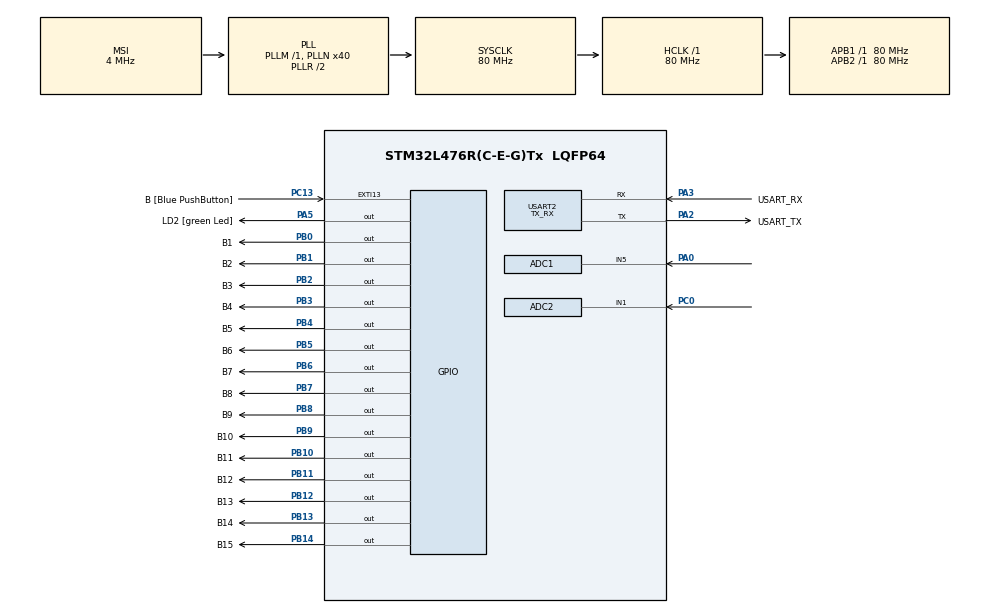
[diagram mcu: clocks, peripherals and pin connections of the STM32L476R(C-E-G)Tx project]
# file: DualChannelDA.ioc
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ADC1.Channel-1\#ChannelRegularConversion=ADC_CHANNEL_5
ADC1.ClockPrescaler=ADC_CLOCK_ASYNC_DIV1
ADC1.ContinuousConvMode=DISABLE
ADC1.DMAAccessModeView=ENABLE
ADC1.DMAContinuousRequests=ENABLE
ADC1.DataAlign=ADC_DATAALIGN_RIGHT
ADC1.EnableAnalogWatchDog1=false
ADC1.Mode=ADC_DUALMODE_REGSIMULT
ADC1.NbrOfConversionFlag=1
ADC1.OffsetNumber-1\#ChannelRegularConversion=ADC_OFFSET_NONE
ADC1.Rank-1\#ChannelRegularConversion=1
ADC1.SamplingTime-1\#ChannelRegularConversion=ADC_SAMPLETIME_2CYCLES_5
ADC1.master=1
ADC2.Channel-1\#ChannelRegularConversion=ADC_CHANNEL_1
ADC2.ContinuousConvMode=DISABLE
ADC2.DMAAccessModeView=ENABLE
ADC2.DMAContinuousRequests=DISABLE
ADC2.DataAlign=ADC_DATAALIGN_RIGHT
ADC2.EOCSelection=ADC_EOC_SINGLE_CONV
ADC2.Mode=ADC_DUALMODE_REGSIMULT
ADC2.NbrOfConversionFlag=1
ADC2.OffsetNumber-1\#ChannelRegularConversion=ADC_OFFSET_NONE
ADC2.Rank-1\#ChannelRegularConversion=1
ADC2.Resolution=ADC_RESOLUTION_12B
ADC2.SamplingTime-1\#ChannelRegularConversion=ADC_SAMPLETIME_2CYCLES_5
Dma.ADC1.0.Direction=DMA_PERIPH_TO_MEMORY
Dma.ADC1.0.Instance=DMA1_Channel1
Dma.ADC1.0.MemDataAlignment=DMA_MDATAALIGN_WORD
Dma.ADC1.0.MemInc=DMA_MINC_ENABLE
Dma.ADC1.0.Mode=DMA_CIRCULAR
Dma.ADC1.0.PeriphDataAlignment=DMA_PDATAALIGN_WORD
Dma.ADC1.0.PeriphInc=DMA_PINC_DISABLE
Dma.ADC1.0.Priority=DMA_PRIORITY_LOW
Dma.Request0=ADC1
Mcu.Family=STM32L4
Mcu.Name=STM32L476R(C-E-G)Tx
Mcu.Package=LQFP64
NVIC.DMA1_Channel1_IRQn=true\:0\:0\:false\:false\:true\:false\:true
NVIC.PriorityGroup=NVIC_PRIORITYGROUP_4
NVIC.USART2_IRQn=true\:0\:0\:false\:false\:true\:true\:true
PA0.Signal=ADCx_IN5
PA13\ (JTMS-SWDIO).GPIO_Label=TMS
PA13\ (JTMS-SWDIO).Mode=Serial_Wire
PA13\ (JTMS-SWDIO).Signal=SYS_JTMS-SWDIO
PA14\ (JTCK-SWCLK).GPIO_Label=TCK
PA14\ (JTCK-SWCLK).Mode=Serial_Wire
PA14\ (JTCK-SWCLK).Signal=SYS_JTCK-SWCLK
PA2.GPIO_Label=USART_TX
PA2.GPIO_Mode=GPIO_MODE_AF_PP
PA2.GPIO_PuPd=GPIO_NOPULL
PA2.GPIO_Speed=GPIO_SPEED_FREQ_VERY_HIGH
PA2.Mode=Asynchronous
PA2.Signal=USART2_TX
PA3.GPIO_Label=USART_RX
PA3.GPIO_Mode=GPIO_MODE_AF_PP
PA3.GPIO_PuPd=GPIO_NOPULL
PA3.GPIO_Speed=GPIO_SPEED_FREQ_VERY_HIGH
PA3.Mode=Asynchronous
PA3.Signal=USART2_RX
PA5.GPIO_Label=LD2 [green Led]
PA5.GPIO_ModeDefaultOutputPP=GPIO_MODE_OUTPUT_PP
PA5.GPIO_PuPd=GPIO_NOPULL
PA5.GPIO_Speed=GPIO_SPEED_FREQ_LOW
PA5.Signal=GPIO_Output
PB0.GPIO_Label=B1
PB0.Signal=GPIO_Output
PB1.GPIO_Label=B2
PB1.Signal=GPIO_Output
PB10.GPIO_Label=B11
PB10.Signal=GPIO_Output
PB11.GPIO_Label=B12
PB11.Signal=GPIO_Output
PB12.GPIO_Label=B13
PB12.Signal=GPIO_Output
PB13.GPIO_Label=B14
PB13.Signal=GPIO_Output
PB14.GPIO_Label=B15
PB14.Signal=GPIO_Output
PB2.GPIO_Label=B3
PB2.Signal=GPIO_Output
PB3\ (JTDO-TRACESWO).GPIO_Label=B4
PB3\ (JTDO-TRACESWO).Signal=GPIO_Output
PB4\ (NJTRST).GPIO_Label=B5
PB4\ (NJTRST).Signal=GPIO_Output
PB5.GPIO_Label=B6
PB5.Signal=GPIO_Output
PB6.GPIO_Label=B7
PB6.Signal=GPIO_Output
PB7.GPIO_Label=B8
PB7.Signal=GPIO_Output
PB8.GPIO_Label=B9
PB8.Signal=GPIO_Output
PB9.GPIO_Label=B10
PB9.Signal=GPIO_Output
PC0.Signal=ADCx_IN1
PC13.GPIO_Label=B [Blue PushButton]
PC13.GPIO_ModeDefaultEXTI=GPIO_MODE_IT_FALLING
PC13.GPIO_PuPd=GPIO_NOPULL
PC13.Signal=GPXTI13
PC14-OSC32_IN\ (PC14).Mode=LSE-External-Oscillator
PC14-OSC32_IN\ (PC14).Signal=RCC_OSC32_IN
PC15-OSC32_OUT\ (PC15).Mode=LSE-External-Oscillator
PC15-OSC32_OUT\ (PC15).Signal=RCC_OSC32_OUT
PH0-OSC_IN\ (PH0).Mode=HSE-External-Oscillator
PH0-OSC_IN\ (PH0).Signal=RCC_OSC_IN
PH1-OSC_OUT\ (PH1).Mode=HSE-External-Oscillator
PH1-OSC_OUT\ (PH1).Signal=RCC_OSC_OUT
ProjectManager.HeapSize=0x200
ProjectManager.StackSize=0x400
ProjectManager.TargetToolchain=STM32CubeIDE
RCC.ADCFreq_Value=32000000
RCC.AHBFreq_Value=80000000
RCC.APB1Freq_Value=80000000
RCC.APB1TimFreq_Value=80000000
RCC.APB2Freq_Value=80000000
RCC.APB2TimFreq_Value=80000000
RCC.CortexFreq_Value=80000000
RCC.HCLKFreq_Value=80000000
RCC.HSE_VALUE=4000000
RCC.HSI_VALUE=16000000
RCC.MSI_VALUE=4000000
RCC.PLLN=40
RCC.PLLSAI1N=16
RCC.PLLSAI2N=16
RCC.SYSCLKFreq_VALUE=80000000
RCC.SYSCLKSource=RCC_SYSCLKSOURCE_PLLCLK
RCC.USBFreq_Value=32000000
RCC.VCOOutputFreq_Value=160000000
SH.ADCx_IN1.0=ADC2_IN1,IN1-Single-Ended
SH.ADCx_IN5.0=ADC1_IN5,IN5-Single-Ended
USART2.Mode=MODE_TX_RX
USART2.VirtualMode-Asynchronous=VM_ASYNC
board=NUCLEO-L476RG

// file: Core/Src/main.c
/* USER CODE BEGIN Header */
/**
 ******************************************************************************
 * @file           : main.c
 * @brief          : Main program body
 ******************************************************************************
 * @attention
 *
 * Copyright (c) 2023 STMicroelectronics.
 * All rights reserved.
 *
 * This software is licensed under terms that can be found in the LICENSE file
 * in the root directory of this software component.
 * If no LICENSE file comes with this software, it is provided AS-IS.
 *
 ******************************************************************************
 */
/* USER CODE END Header */
#include "main.h"

/* USER CODE BEGIN Includes */
#include<string.h>
#include<stdio.h>
/* USER CODE END Includes */

/* USER CODE BEGIN PD */

#define ADC_BUF_LEN 2048

/* USER CODE END PD */

ADC_HandleTypeDef hadc1;
ADC_HandleTypeDef hadc2;
DMA_HandleTypeDef hdma_adc1;

UART_HandleTypeDef huart2;

/* USER CODE BEGIN PV */

volatile uint32_t adc_buf[ADC_BUF_LEN];
uint8_t Tx[] = "O\r\n";
uint8_t Rx[1];

char msg[100];

/* USER CODE END PV */

void SystemClock_Config(void);
void PeriphCommonClock_Config(void);
static void MX_GPIO_Init(void);
static void MX_USART2_UART_Init(void);
static void MX_DMA_Init(void);
static void MX_ADC2_Init(void);
static void MX_ADC1_Init(void);

int main(void)
{

  /* MCU Configuration--------------------------------------------------------*/

  /* Reset of all peripherals, Initializes the Flash interface and the Systick. */
  HAL_Init();

  /* Configure the system clock */
  SystemClock_Config();

/* Configure the peripherals common clocks */
  PeriphCommonClock_Config();

  /* Initialize all configured peripherals */
  MX_GPIO_Init();
  MX_USART2_UART_Init();
  MX_DMA_Init();
  MX_ADC2_Init();
  MX_ADC1_Init();
  /* USER CODE BEGIN 2 */

  HAL_ADCEx_Calibration_Start(&hadc1,ADC_SINGLE_ENDED);
  HAL_ADCEx_Calibration_Start(&hadc2,ADC_SINGLE_ENDED);
  HAL_ADC_Start(&hadc2);
  HAL_ADCEx_MultiModeStart_DMA(&hadc1,(uint32_t *)adc_buf, ADC_BUF_LEN);

  /* USER CODE END 2 */

  /* Infinite loop */
  while (1)
  {

  }
}

void SystemClock_Config(void)
{
  RCC_OscInitTypeDef RCC_OscInitStruct = {0};
  RCC_ClkInitTypeDef RCC_ClkInitStruct = {0};

  /** Configure the main internal regulator output voltage
  */
  if (HAL_PWREx_ControlVoltageScaling(PWR_REGULATOR_VOLTAGE_SCALE1) != HAL_OK)
  {
    Error_Handler();
  }
  /** Configure LSE Drive Capability
  */
  HAL_PWR_EnableBkUpAccess();
  __HAL_RCC_LSEDRIVE_CONFIG(RCC_LSEDRIVE_LOW);
  /** Initializes the RCC Oscillators according to the specified parameters
  * in the RCC_OscInitTypeDef structure.
  */
  RCC_OscInitStruct.OscillatorType = RCC_OSCILLATORTYPE_LSE|RCC_OSCILLATORTYPE_MSI;
  RCC_OscInitStruct.LSEState = RCC_LSE_ON;
  RCC_OscInitStruct.MSIState = RCC_MSI_ON;
  RCC_OscInitStruct.MSICalibrationValue = 0;
  RCC_OscInitStruct.MSIClockRange = RCC_MSIRANGE_6;
  RCC_OscInitStruct.PLL.PLLState = RCC_PLL_ON;
  RCC_OscInitStruct.PLL.PLLSource = RCC_PLLSOURCE_MSI;
  RCC_OscInitStruct.PLL.PLLM = 1;
  RCC_OscInitStruct.PLL.PLLN = 40;
  RCC_OscInitStruct.PLL.PLLP = RCC_PLLP_DIV7;
  RCC_OscInitStruct.PLL.PLLQ = RCC_PLLQ_DIV2;
  RCC_OscInitStruct.PLL.PLLR = RCC_PLLR_DIV2;
  if (HAL_RCC_OscConfig(&RCC_OscInitStruct) != HAL_OK)
  {
    Error_Handler();
  }
  /** Initializes the CPU, AHB and APB buses clocks
  */
  RCC_ClkInitStruct.ClockType = RCC_CLOCKTYPE_HCLK|RCC_CLOCKTYPE_SYSCLK
                              |RCC_CLOCKTYPE_PCLK1|RCC_CLOCKTYPE_PCLK2;
  RCC_ClkInitStruct.SYSCLKSource = RCC_SYSCLKSOURCE_PLLCLK;
  RCC_ClkInitStruct.AHBCLKDivider = RCC_SYSCLK_DIV1;
  RCC_ClkInitStruct.APB1CLKDivider = RCC_HCLK_DIV1;
  RCC_ClkInitStruct.APB2CLKDivider = RCC_HCLK_DIV1;

  if (HAL_RCC_ClockConfig(&RCC_ClkInitStruct, FLASH_LATENCY_4) != HAL_OK)
  {
    Error_Handler();
  }
  /** Enable MSI Auto calibration
  */
  HAL_RCCEx_EnableMSIPLLMode();
}

void PeriphCommonClock_Config(void)
{
  RCC_PeriphCLKInitTypeDef PeriphClkInit = {0};

  /** Initializes the peripherals clock
  */
  PeriphClkInit.PeriphClockSelection = RCC_PERIPHCLK_ADC;
  PeriphClkInit.AdcClockSelection = RCC_ADCCLKSOURCE_PLLSAI1;
  PeriphClkInit.PLLSAI1.PLLSAI1Source = RCC_PLLSOURCE_MSI;
  PeriphClkInit.PLLSAI1.PLLSAI1M = 1;
  PeriphClkInit.PLLSAI1.PLLSAI1N = 16;
  PeriphClkInit.PLLSAI1.PLLSAI1P = RCC_PLLP_DIV7;
  PeriphClkInit.PLLSAI1.PLLSAI1Q = RCC_PLLQ_DIV2;
  PeriphClkInit.PLLSAI1.PLLSAI1R = RCC_PLLR_DIV2;
  PeriphClkInit.PLLSAI1.PLLSAI1ClockOut = RCC_PLLSAI1_ADC1CLK;
  if (HAL_RCCEx_PeriphCLKConfig(&PeriphClkInit) != HAL_OK)
  {
    Error_Handler();
  }
}

static void MX_ADC1_Init(void)
{

  ADC_MultiModeTypeDef multimode = {0};
  ADC_ChannelConfTypeDef sConfig = {0};

  /** Common config
  */
  hadc1.Instance = ADC1;
  hadc1.Init.ClockPrescaler = ADC_CLOCK_ASYNC_DIV1;
  hadc1.Init.Resolution = ADC_RESOLUTION_12B;
  hadc1.Init.DataAlign = ADC_DATAALIGN_RIGHT;
  hadc1.Init.ScanConvMode = ADC_SCAN_DISABLE;
  hadc1.Init.EOCSelection = ADC_EOC_SINGLE_CONV;
  hadc1.Init.LowPowerAutoWait = DISABLE;
  hadc1.Init.ContinuousConvMode = ENABLE;
  hadc1.Init.NbrOfConversion = 1;
  hadc1.Init.DiscontinuousConvMode = DISABLE;
  hadc1.Init.ExternalTrigConv = ADC_SOFTWARE_START;
  hadc1.Init.ExternalTrigConvEdge = ADC_EXTERNALTRIGCONVEDGE_NONE;
  hadc1.Init.DMAContinuousRequests = ENABLE;
  hadc1.Init.Overrun = ADC_OVR_DATA_PRESERVED;
  hadc1.Init.OversamplingMode = DISABLE;
  if (HAL_ADC_Init(&hadc1) != HAL_OK)
  {
    Error_Handler();
  }
  /** Configure the ADC multi-mode
  */
  multimode.Mode = ADC_DUALMODE_REGSIMULT;
  multimode.DMAAccessMode = ADC_DMAACCESSMODE_32_10_BITS;
  multimode.TwoSamplingDelay = ADC_TWOSAMPLINGDELAY_1CYCLE;
  if (HAL_ADCEx_MultiModeConfigChannel(&hadc1, &multimode) != HAL_OK)
  {
    Error_Handler();
  }
  /** Configure Regular Channel
  */
  sConfig.Channel = ADC_CHANNEL_5;
  sConfig.Rank = ADC_REGULAR_RANK_1;
  sConfig.SamplingTime = ADC_SAMPLETIME_2CYCLES_5;
  sConfig.SingleDiff = ADC_SINGLE_ENDED;
  sConfig.OffsetNumber = ADC_OFFSET_NONE;
  sConfig.Offset = 0;
  if (HAL_ADC_ConfigChannel(&hadc1, &sConfig) != HAL_OK)
  {
    Error_Handler();
  }

}

static void MX_ADC2_Init(void)
{

  ADC_ChannelConfTypeDef sConfig = {0};

  /** Common config
  */
  hadc2.Instance = ADC2;
  hadc2.Init.ClockPrescaler = ADC_CLOCK_ASYNC_DIV1;
  hadc2.Init.Resolution = ADC_RESOLUTION_12B;
  hadc2.Init.DataAlign = ADC_DATAALIGN_RIGHT;
  hadc2.Init.ScanConvMode = ADC_SCAN_DISABLE;
  hadc2.Init.EOCSelection = ADC_EOC_SINGLE_CONV;
  hadc2.Init.LowPowerAutoWait = DISABLE;
  hadc2.Init.ContinuousConvMode = DISABLE;
  hadc2.Init.NbrOfConversion = 1;
  hadc2.Init.DiscontinuousConvMode = DISABLE;
  hadc2.Init.DMAContinuousRequests = DISABLE;
  hadc2.Init.Overrun = ADC_OVR_DATA_PRESERVED;
  hadc2.Init.OversamplingMode = DISABLE;
  hadc2.Init.ExternalTrigConv = ADC_SOFTWARE_START;
  hadc2.Init.ConversionDataManagement = ADC_DR_RDATA;
  if (HAL_ADC_Init(&hadc2) != HAL_OK)
  {
    Error_Handler();
  }
  /** Configure Regular Channel
  */
  sConfig.Channel = ADC_CHANNEL_1;
  sConfig.Rank = ADC_REGULAR_RANK_1;
  sConfig.SamplingTime = ADC_SAMPLETIME_2CYCLES_5;
  sConfig.SingleDiff = ADC_SINGLE_ENDED;
  sConfig.OffsetNumber = ADC_OFFSET_NONE;
  sConfig.Offset = 0;
  if (HAL_ADC_ConfigChannel(&hadc2, &sConfig) != HAL_OK)
  {
    Error_Handler();
  }

}

static void MX_USART2_UART_Init(void)
{

  huart2.Instance = USART2;
  huart2.Init.BaudRate = 115200;
  huart2.Init.WordLength = UART_WORDLENGTH_8B;
  huart2.Init.StopBits = UART_STOPBITS_1;
  huart2.Init.Parity = UART_PARITY_NONE;
  huart2.Init.Mode = UART_MODE_TX_RX;
  huart2.Init.HwFlowCtl = UART_HWCONTROL_NONE;
  huart2.Init.OverSampling = UART_OVERSAMPLING_16;
  huart2.Init.OneBitSampling = UART_ONE_BIT_SAMPLE_DISABLE;
  huart2.AdvancedInit.AdvFeatureInit = UART_ADVFEATURE_NO_INIT;
  if (HAL_UART_Init(&huart2) != HAL_OK)
  {
    Error_Handler();
  }

}

static void MX_DMA_Init(void)
{

  /* DMA controller clock enable */
  __HAL_RCC_DMA1_CLK_ENABLE();

  /* DMA interrupt init */
  /* DMA1_Channel1_IRQn interrupt configuration */
  HAL_NVIC_SetPriority(DMA1_Channel1_IRQn, 0, 0);
  HAL_NVIC_EnableIRQ(DMA1_Channel1_IRQn);

}

static void MX_GPIO_Init(void)
{
  GPIO_InitTypeDef GPIO_InitStruct = {0};

  /* GPIO Ports Clock Enable */
  __HAL_RCC_GPIOC_CLK_ENABLE();
  __HAL_RCC_GPIOH_CLK_ENABLE();
  __HAL_RCC_GPIOA_CLK_ENABLE();
  __HAL_RCC_GPIOB_CLK_ENABLE();

  /*Configure GPIO pin Output Level */
  HAL_GPIO_WritePin(LD2_GPIO_Port, LD2_Pin, GPIO_PIN_RESET);

  /*Configure GPIO pin : B_Pin */
  GPIO_InitStruct.Pin = B_Pin;
  GPIO_InitStruct.Mode = GPIO_MODE_IT_FALLING;
  GPIO_InitStruct.Pull = GPIO_NOPULL;
  HAL_GPIO_Init(B_GPIO_Port, &GPIO_InitStruct);

  /*Configure GPIO pin : LD2_Pin */
  GPIO_InitStruct.Pin = LD2_Pin;
  GPIO_InitStruct.Mode = GPIO_MODE_OUTPUT_PP;
  GPIO_InitStruct.Pull = GPIO_NOPULL;
  GPIO_InitStruct.Speed = GPIO_SPEED_FREQ_LOW;
  HAL_GPIO_Init(LD2_GPIO_Port, &GPIO_InitStruct);

}

/* USER CODE BEGIN 4 */
void HAL_ADC_ConvHalfCpltCallback(ADC_HandleTypeDef* hadc) {

	HAL_GPIO_WritePin(LD2_GPIO_Port, LD2_Pin, GPIO_PIN_SET);

	HAL_UART_Receive(&huart2, Rx, sizeof(Rx), 10);

}

void HAL_ADC_ConvCpltCallback(ADC_HandleTypeDef* hadc) {

	HAL_ADCEx_MultiModeStop_DMA(&hadc1);

	int i = 0;
	char temp_buf[200]; // Temporary buffer for formatting

	while ( i < ADC_BUF_LEN  ) {
		uint16_t reading_1 = adc_buf[i] & 0x0000FFFF;
		uint16_t reading_2 = adc_buf[i] >> 16;

		snprintf(temp_buf, sizeof(temp_buf), "%d\t%d\r\n", reading_1, reading_2);
		HAL_UART_Transmit(&huart2, (uint8_t*)temp_buf, strlen(temp_buf), HAL_MAX_DELAY);

		i++;
	}

	NVIC_SystemReset();

}
/* USER CODE END 4 */

void Error_Handler(void)
{
		__disable_irq();
		while (1) {
		}
}
